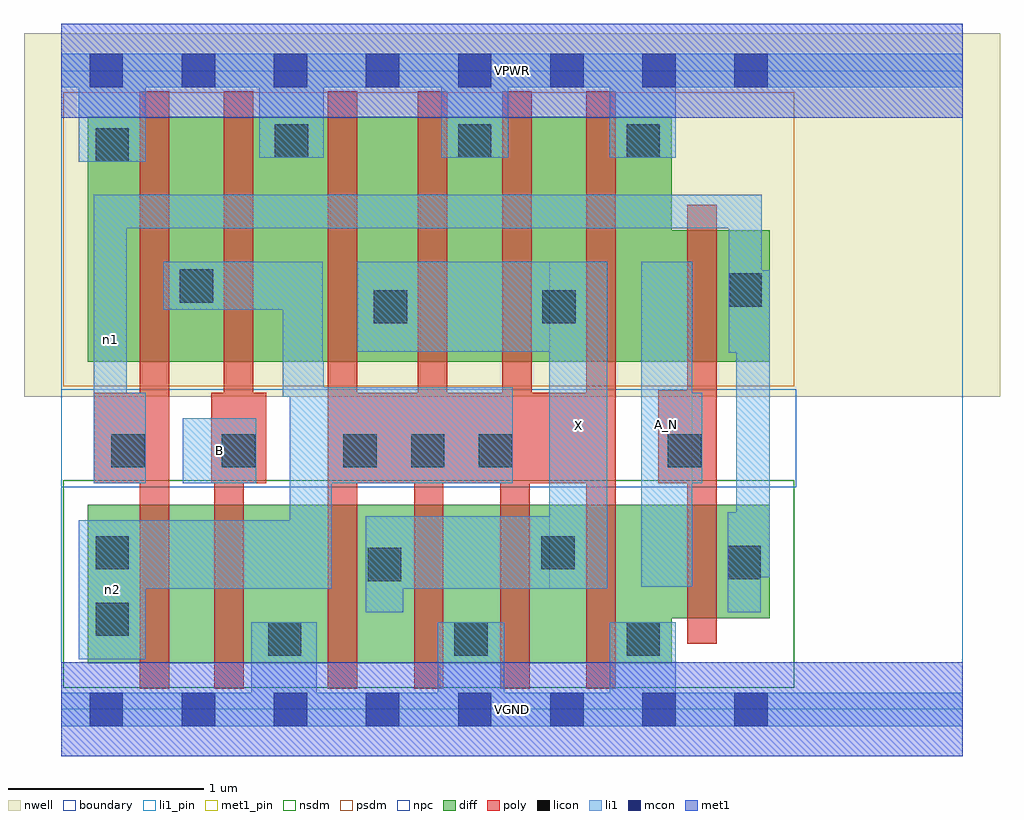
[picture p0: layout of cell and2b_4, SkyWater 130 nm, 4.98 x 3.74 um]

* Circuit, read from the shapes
.subckt and2b_4 A_N B VGND VPWR X n1 n2
XM1 n3 n1 n2 VSUBS sky130_fd_pr__nfet_01v8 w=0.81 l=0.15
XM2 VGND B n3 VSUBS sky130_fd_pr__nfet_01v8 w=0.81 l=0.15
XM3 X n2 VGND VSUBS sky130_fd_pr__nfet_01v8 w=0.81 l=0.15 m=4
XM4 n1 A_N VGND VSUBS sky130_fd_pr__nfet_01v8 w=0.58 l=0.15
XM5 n2 n1 VPWR n4 sky130_fd_pr__pfet_01v8 w=1.25 l=0.15
XM6 VPWR B n2 n4 sky130_fd_pr__pfet_01v8 w=1.25 l=0.15
XM7 X n2 VPWR n4 sky130_fd_pr__pfet_01v8 w=1.25 l=0.15 m=4
XM8 n1 A_N VPWR n4 sky130_fd_pr__pfet_01v8 w=0.67 l=0.15
.ends

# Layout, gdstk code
import gdstk
lib = gdstk.Library(unit=1e-6, precision=1e-09)
def R(c, l, rs):  # rectangles x0, y0, x1, y1
    for r in rs: c.add(gdstk.rectangle(r[:2], r[2:], *l))
def A(c, l, x, y, w, h, nx, ny, dx, dy):  # array of equal rectangles
    R(c, l, [(x+i*dx, y+j*dy, x+i*dx+w, y+j*dy+h) for i in range(nx) for j in range(ny)])
nwell = (64, 20)
diff = (65, 20)
poly = (66, 20)
licon = (66, 44)
li1_pin = (67, 16)
li1 = (67, 20)
mcon = (67, 44)
met1_pin = (68, 16)
met1 = (68, 20)
nsdm = (93, 44)
psdm = (94, 20)
npc = (95, 20)
boundary = (235, 4)

and2b_4 = lib.new_cell('and2b_4')
R(and2b_4, nwell, [(-0.19,1.595,4.79,3.45), (0,1.595,4.6,3.45)])
R(and2b_4, diff, [(0.135,0.235,3.115,1.045), (0.135,0.465,3.615,1.045), (0.135,1.775,3.115,3.025), (0.135,1.775,3.615,2.445)])
R(and2b_4, poly, [(0.4,0.105,0.55,3.155), (0.78,0.105,0.93,1.615), (1.36,0.105,1.51,3.155), (1.8,0.105,1.95,1.615), (2.24,0.105,2.39,1.615), (2.68,0.105,2.83,3.155), (3.195,0.335,3.345,2.575), (0.165,1.155,0.55,1.615), (0.765,1.155,1.045,1.615), (0.83,1.155,0.98,3.155), (1.36,1.155,2.83,1.615), (1.82,1.155,1.97,3.155), (2.25,1.155,2.4,3.155), (3.045,1.155,3.345,1.63)])
A(and2b_4, licon, 1.44, 1.235, 0.17, 0.17, 3, 1, 0.345, 0)
R(and2b_4, licon, [(1.055,0.275,1.225,0.445), (2.005,0.275,2.175,0.445), (2.885,0.275,3.055,0.445), (0.175,0.375,0.345,0.545), (1.565,0.655,1.735,0.825), (3.4,0.665,3.57,0.835), (0.175,0.715,0.345,0.885), (2.45,0.715,2.62,0.885), (0.255,1.235,0.425,1.405), (0.82,1.235,0.99,1.405), (3.095,1.235,3.265,1.405), (1.595,1.97,1.765,2.14), (2.455,1.97,2.625,2.14), (3.405,2.055,3.575,2.225), (0.605,2.075,0.775,2.245), (0.175,2.795,0.345,2.965), (1.09,2.815,1.26,2.985), (2.025,2.815,2.195,2.985), (2.885,2.815,3.055,2.985)])
R(and2b_4, li1_pin, [(2.49,0.615,2.785,2.285), (2.96,0.625,3.22,2.285), (0.62,1.155,0.995,1.485)])
R(and2b_4, li1, [(0,-0.085,4.6,0.085), (0.97,-0.085,1.305,0.445), (1.92,-0.085,2.26,0.445), (2.8,-0.085,3.135,0.445), (0.09,0.255,0.43,0.965), (1.555,0.495,1.745,0.985), (3.4,0.495,3.57,1.005), (0.09,0.615,1.38,0.965), (1.165,0.615,1.335,2.285), (1.165,0.615,1.38,1.645), (1.165,0.615,1.34,1.775), (1.555,0.615,2.785,0.985), (2.49,0.615,2.785,2.285), (2.96,0.625,3.22,2.285), (3.445,0.675,3.615,2.24), (0.165,1.155,0.335,2.625), (0.165,1.155,0.43,1.615), (0.62,1.155,0.995,1.485), (1.165,1.155,2.305,1.645), (2.96,1.155,3.27,1.615), (1.13,1.595,1.335,2.04), (3.405,1.82,3.575,2.625), (1.51,1.825,2.785,2.285), (0.52,2.04,1.335,2.285), (0.165,2.455,3.575,2.625), (0.09,2.795,0.43,3.345), (1.01,2.815,1.34,3.345), (1.94,2.815,2.28,3.345), (2.8,2.815,3.135,3.345), (0,3.175,4.6,3.345)])
A(and2b_4, mcon, 0.145, -0.085, 0.17, 0.17, 8, 2, 0.47, 3.26)
R(and2b_4, met1_pin, [(0,-0.24,4.6,0.24), (0,3.02,4.6,3.5)])
R(and2b_4, met1, [(0,-0.24,4.6,0.24), (0,3.02,4.6,3.5)])
R(and2b_4, nsdm, [(0.01,0.11,3.74,1.17)])
R(and2b_4, psdm, [(0.01,1.65,3.74,3.15)])
R(and2b_4, npc, [(0,1.135,3.75,1.635)])
R(and2b_4, boundary, [(0,0,4.6,3.26)])
and2b_4.add(gdstk.Label('A_N', (3.09,1.455), layer=67, texttype=5))
and2b_4.add(gdstk.Label('B', (0.807,1.32), layer=67, texttype=5))
and2b_4.add(gdstk.Label('X', (2.637,1.45), layer=67, texttype=5))
and2b_4.add(gdstk.Label('n2', (0.26,0.61), layer=67, texttype=5))
and2b_4.add(gdstk.Label('n1', (0.25,1.89), layer=67, texttype=5))
and2b_4.add(gdstk.Label('VPWR', (2.3,3.26), layer=68, texttype=5))
and2b_4.add(gdstk.Label('VGND', (2.3,0), layer=68, texttype=5))
and2b_4.add(gdstk.Label('A_N', (3.09,1.455), layer=67, texttype=16))
and2b_4.add(gdstk.Label('B', (0.807,1.32), layer=67, texttype=16))
and2b_4.add(gdstk.Label('X', (2.637,1.45), layer=67, texttype=16))
and2b_4.add(gdstk.Label('VPWR', (2.3,3.26), layer=68, texttype=16))
and2b_4.add(gdstk.Label('VGND', (2.3,0), layer=68, texttype=16))

lib.write_gds('and2b_4.gds')
